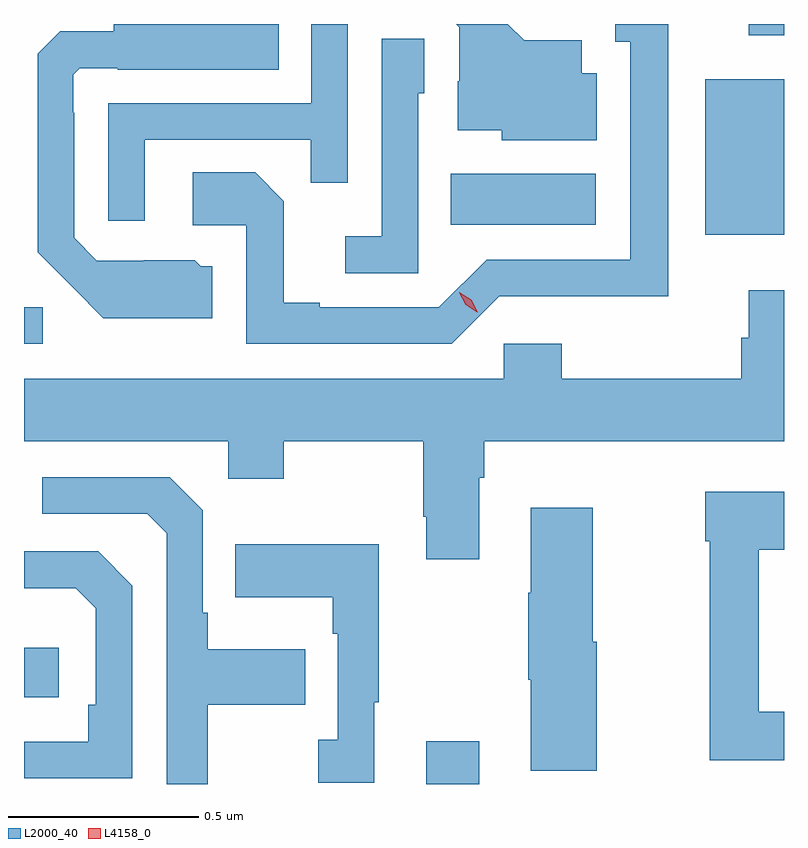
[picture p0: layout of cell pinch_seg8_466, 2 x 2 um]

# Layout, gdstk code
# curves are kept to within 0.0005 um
import gdstk
lib = gdstk.Library(unit=1e-6, precision=1e-09)
def R(c, l, rs):  # rectangles x0, y0, x1, y1
    for r in rs: c.add(gdstk.rectangle(r[:2], r[2:], *l))
def P(c, l, *ps):  # polygons
    for p in ps: c.add(gdstk.Polygon(p, *l))
L2000_40 = (2000, 40)
L4158_0 = (4158, 0)

pinch_seg8_466 = lib.new_cell('pinch_seg8_466')
R(pinch_seg8_466, L2000_40, [(197.687,1140.906,197.827,1141.018), (196.629,1141.134,196.72,1141.264), (196.629,1142.064,196.678,1142.16), (198.422,1142.351,198.629,1142.761), (197.752,1142.378,198.133,1142.512), (198.536,1142.877,198.629,1142.906)])
P(pinch_seg8_466, L2000_40, [(198.136,1142.776),(198.097,1142.776),(198.097,1142.863),(197.945,1142.863),(197.902,1142.906),(197.767,1142.906),(197.775,1142.898),(197.775,1142.756),(197.771,1142.756),(197.771,1142.627),(197.886,1142.627),(197.886,1142.6),(198.136,1142.6)],
  [(197.125,1142.268),(197.094,1142.268),(197.078,1142.284),(196.944,1142.284),(196.944,1142.283),(196.821,1142.283),(196.761,1142.343),(196.761,1142.672),(196.758,1142.672),(196.758,1142.772),(196.776,1142.79),(196.876,1142.79),(196.876,1142.786),(197.3,1142.786),(197.3,1142.906),(196.865,1142.906),(196.865,1142.887),(196.724,1142.887),(196.665,1142.828),(196.665,1142.306),(196.837,1142.132),(197.125,1142.132)],
  [(197.88,1142.19),(198.102,1142.19),(198.102,1142.189),(198.325,1142.189),(198.325,1142.906),(198.185,1142.906),(198.185,1142.859),(198.224,1142.859),(198.224,1142.286),(197.847,1142.286),(197.721,1142.16),(197.407,1142.16),(197.407,1142.173),(197.313,1142.173),(197.313,1142.44),(197.237,1142.516),(197.073,1142.516),(197.073,1142.376),(197.214,1142.376),(197.214,1142.064),(197.754,1142.064)],
  [(196.947,1142.601),(197.383,1142.601),(197.383,1142.488),(197.481,1142.488),(197.481,1142.906),(197.385,1142.906),(197.385,1142.697),(196.851,1142.697),(196.851,1142.388),(196.947,1142.388)],
  [(197.667,1142.724),(197.682,1142.724),(197.682,1142.867),(197.571,1142.867),(197.571,1142.347),(197.475,1142.347),(197.475,1142.25),(197.667,1142.25)],
  [(197.827,1141.712),(197.84,1141.712),(197.84,1141.808),(198.629,1141.808),(198.629,1142.206),(198.536,1142.206),(198.536,1142.081),(198.517,1142.081),(198.517,1141.972),(198.044,1141.972),(198.044,1142.065),(197.892,1142.065),(197.892,1141.972),(196.629,1141.972),(196.629,1141.808),(197.166,1141.808),(197.166,1141.709),(197.313,1141.709),(197.313,1141.808),(197.68,1141.808),(197.68,1141.609),(197.687,1141.609),(197.687,1141.497),(197.827,1141.497)],
  [(197.113,1141.114),(197.369,1141.114),(197.369,1141.261),(197.113,1141.261),(197.113,1141.357),(197.1,1141.357),(197.1,1141.626),(197.013,1141.713),(196.677,1141.713),(196.677,1141.617),(196.953,1141.617),(197.004,1141.566),(197.004,1140.906),(197.113,1140.906)],
  [(198.629,1141.096),(198.562,1141.096),(198.562,1141.523),(198.629,1141.523),(198.629,1141.675),(198.422,1141.675),(198.422,1141.545),(198.433,1141.545),(198.433,1140.968),(198.629,1140.968)],
  [(198.136,1141.281),(198.126,1141.281),(198.126,1141.633),(197.963,1141.633),(197.963,1141.409),(197.956,1141.409),(197.956,1141.181),(197.963,1141.181),(197.963,1140.941),(198.136,1140.941)],
  [(197.551,1141.121),(197.563,1141.121),(197.563,1141.537),(197.185,1141.537),(197.185,1141.397),(197.442,1141.397),(197.442,1141.301),(197.454,1141.301),(197.454,1141.022),(197.403,1141.022),(197.403,1140.909),(197.551,1140.909)],
  [(196.914,1141.428),(196.824,1141.518),(196.629,1141.518),(196.629,1141.421),(196.765,1141.421),(196.818,1141.368),(196.818,1141.114),(196.798,1141.114),(196.798,1141.017),(196.629,1141.017),(196.629,1140.921),(196.914,1140.921)])
P(pinch_seg8_466, L4158_0, [(197.822,1142.147),(197.791,1142.167),(197.774,1142.199),(197.774,1142.2),(197.774,1142.2),(197.806,1142.18),(197.823,1142.148),(197.823,1142.147)])

lib.write_gds('pinch_seg8_466.gds')
